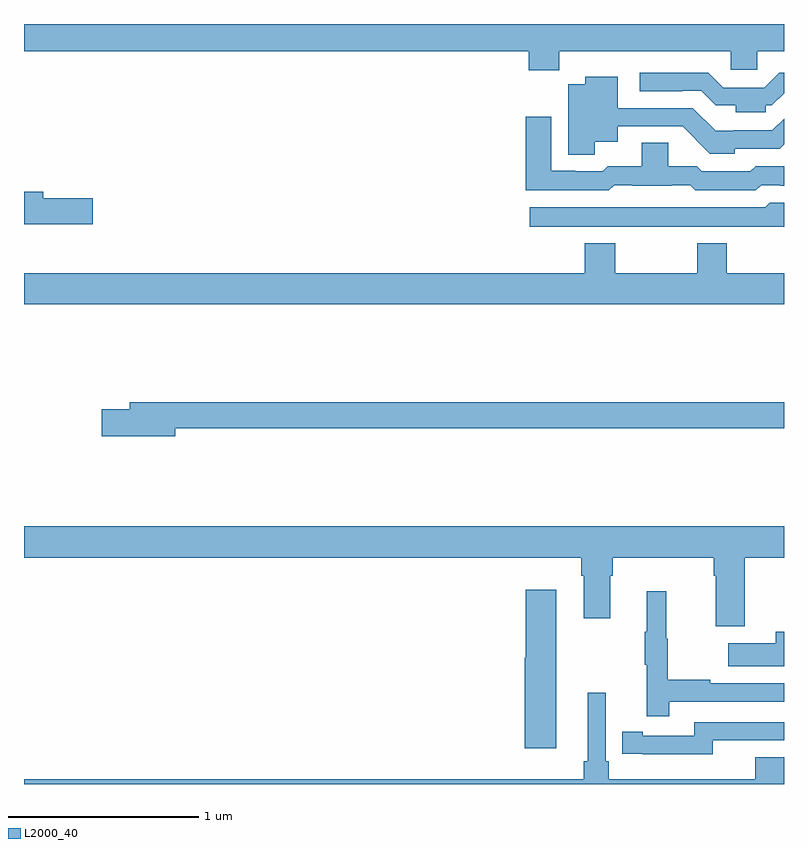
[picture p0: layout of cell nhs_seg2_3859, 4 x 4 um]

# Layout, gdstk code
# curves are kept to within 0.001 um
import gdstk
lib = gdstk.Library(unit=1e-6, precision=1e-09)
def P(c, l, *ps):  # polygons
    for p in ps: c.add(gdstk.Polygon(p, *l))
L2000_40 = (2000, 40)

nhs_seg2_3859 = lib.new_cell('nhs_seg2_3859')
P(nhs_seg2_3859, L2000_40, [(317.817,627.656),(318.72,627.656),(318.72,627.558),(318.858,627.558),(318.858,627.656),(319,627.656),(319,627.8),(315,627.8),(315,627.656),(317.657,627.656),(317.657,627.557),(317.817,627.557)],
  [(318.903,627.372),(318.936,627.372),(319,627.436),(319,627.544),(318.976,627.544),(318.897,627.465),(318.681,627.465),(318.602,627.544),(318.24,627.544),(318.24,627.447),(318.464,627.447),(318.464,627.45),(318.564,627.45),(318.642,627.372),(318.746,627.372),(318.746,627.336),(318.903,627.336)],
  [(318.004,627.179),(318.124,627.179),(318.124,627.261),(318.468,627.261),(318.537,627.192),(318.535,627.19),(318.608,627.117),(318.741,627.117),(318.741,627.144),(318.978,627.144),(319,627.166),(319,627.302),(318.938,627.24),(318.736,627.24),(318.736,627.237),(318.64,627.237),(318.52,627.357),(318.124,627.357),(318.124,627.523),(317.954,627.523),(317.954,627.484),(317.864,627.484),(317.864,627.113),(318.004,627.113)],
  [(318.106,626.952),(318.202,626.952),(318.202,626.948),(318.41,626.948),(318.41,626.952),(318.506,626.952),(318.534,626.924),(318.852,626.925),(318.879,626.952),(318.979,626.952),(318.979,626.948),(319,626.948),(319,627.052),(318.85,627.052),(318.822,627.024),(318.567,627.024),(318.54,627.051),(318.39,627.051),(318.39,627.176),(318.251,627.176),(318.251,627.052),(318.073,627.052),(318.045,627.024),(317.9,627.024),(317.9,627.028),(317.776,627.028),(317.776,627.313),(317.642,627.313),(317.642,626.924),(318.078,626.924)],
  [(315.361,626.882),(315.1,626.882),(315.1,626.918),(315,626.918),(315,626.747),(315.361,626.747)],
  [(319,626.859),(318.924,626.859),(318.901,626.836),(317.661,626.836),(317.661,626.732),(319,626.732)],
  [(319,626.488),(318.699,626.488),(318.699,626.647),(318.544,626.647),(318.544,626.488),(318.111,626.488),(318.111,626.647),(317.951,626.647),(317.951,626.488),(315,626.488),(315,626.324),(319,626.324)],
  [(315.796,625.672),(319,625.672),(319,625.808),(315.557,625.808),(315.557,625.772),(315.408,625.772),(315.408,625.63),(315.796,625.63)],
  [(318.794,624.992),(319,624.992),(319,625.156),(315,625.156),(315,624.992),(317.933,624.992),(317.933,624.896),(317.945,624.896),(317.945,624.672),(318.085,624.672),(318.085,624.896),(318.098,624.896),(318.098,624.992),(318.629,624.992),(318.629,624.896),(318.641,624.896),(318.641,624.63),(318.794,624.63)],
  [(317.8,624.823),(317.642,624.823),(317.642,624.465),(317.636,624.465),(317.636,623.988),(317.8,623.988)],
  [(318.395,624.234),(319,624.234),(319,624.33),(318.611,624.33),(318.611,624.35),(318.388,624.35),(318.388,624.564),(318.38,624.564),(318.38,624.814),(318.278,624.814),(318.278,624.601),(318.267,624.601),(318.267,624.427),(318.278,624.427),(318.278,624.156),(318.395,624.156)],
  [(319,624.601),(318.956,624.601),(318.956,624.541),(318.707,624.541),(318.707,624.419),(319,624.419)],
  [(319,623.941),(318.848,623.941),(318.848,623.824),(318.077,623.824),(318.077,623.92),(318.063,623.92),(318.063,624.28),(317.966,624.28),(317.966,623.92),(317.947,623.92),(317.947,623.824),(315,623.824),(315,623.8),(319,623.8)],
  [(318.624,624.03),(319,624.03),(319,624.126),(318.528,624.126),(318.528,624.054),(318.256,624.054),(318.256,624.074),(318.148,624.074),(318.148,623.958),(318.256,623.958),(318.256,623.957),(318.624,623.957)])

lib.write_gds('nhs_seg2_3859.gds')
